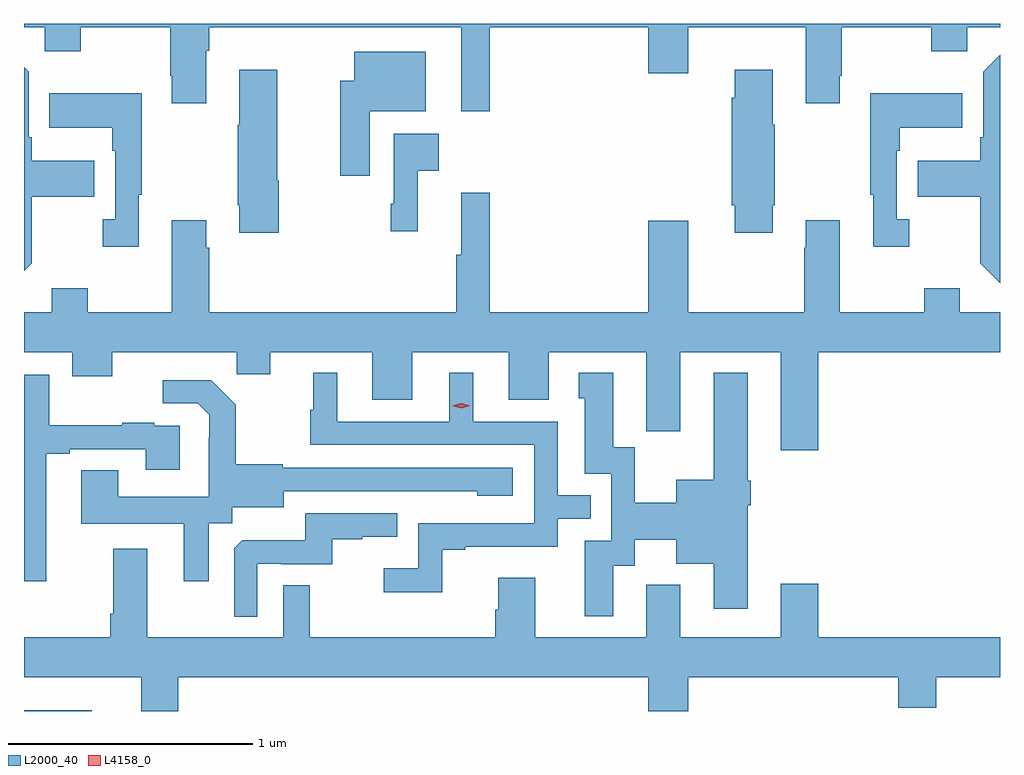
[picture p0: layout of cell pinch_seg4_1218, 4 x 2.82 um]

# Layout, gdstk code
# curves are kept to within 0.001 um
import gdstk
lib = gdstk.Library(unit=1e-6, precision=1e-09)
def R(c, l, rs):  # rectangles x0, y0, x1, y1
    for r in rs: c.add(gdstk.rectangle(r[:2], r[2:], *l))
def P(c, l, *ps):  # polygons
    for p in ps: c.add(gdstk.Polygon(p, *l))
L2000_40 = (2000, 40)
L4158_0 = (4158, 0)

pinch_seg4_1218 = lib.new_cell('pinch_seg4_1218')
R(pinch_seg4_1218, L2000_40, [(186.425,829.98,186.703,829.984)])
P(pinch_seg4_1218, L2000_40, [(188.333,832.784),(188.984,832.784),(188.984,832.596),(189.148,832.596),(189.148,832.784),(189.629,832.784),(189.629,832.473),(189.769,832.473),(189.769,832.585),(189.777,832.585),(189.777,832.784),(190.144,832.784),(190.144,832.685),(190.29,832.685),(190.29,832.784),(190.425,832.784),(190.425,832.799),(186.425,832.799),(186.425,832.784),(186.51,832.784),(186.51,832.685),(186.657,832.685),(186.657,832.784),(187.024,832.784),(187.024,832.585),(187.031,832.585),(187.031,832.473),(187.171,832.473),(187.171,832.688),(187.184,832.688),(187.184,832.784),(188.216,832.784),(188.216,832.44),(188.333,832.44)],
  [(187.843,832.439),(188.071,832.439),(188.071,832.684),(187.778,832.684),(187.778,832.564),(187.721,832.564),(187.721,832.176),(187.843,832.176)],
  [(190.425,832.671),(190.356,832.602),(190.356,832.333),(190.344,832.333),(190.344,832.237),(190.087,832.237),(190.087,832.09),(190.344,832.09),(190.344,831.817),(190.425,831.735)],
  [(186.457,831.817),(186.457,832.09),(186.713,832.09),(186.713,832.237),(186.457,832.237),(186.457,832.333),(186.444,832.333),(186.444,832.602),(186.425,832.621),(186.425,831.785)],
  [(187.47,832.154),(187.462,832.154),(187.462,832.609),(187.307,832.609),(187.307,832.385),(187.3,832.385),(187.3,832.054),(187.307,832.054),(187.307,831.942),(187.47,831.942)],
  [(189.493,832.054),(189.501,832.054),(189.501,832.385),(189.493,832.385),(189.493,832.609),(189.338,832.609),(189.338,832.496),(189.326,832.496),(189.326,832.054),(189.338,832.054),(189.338,831.942),(189.493,831.942)],
  [(186.895,832.097),(186.907,832.097),(186.907,832.513),(186.529,832.513),(186.529,832.373),(186.786,832.373),(186.786,832.277),(186.798,832.277),(186.798,831.998),(186.747,831.998),(186.747,831.885),(186.895,831.885)],
  [(190.054,831.998),(190.002,831.998),(190.002,832.277),(190.015,832.277),(190.015,832.373),(190.271,832.373),(190.271,832.513),(189.894,832.513),(189.894,832.097),(189.905,832.097),(189.905,831.885),(190.054,831.885)],
  [(188.039,832.196),(188.125,832.196),(188.125,832.348),(187.941,832.348),(187.941,832.06),(187.929,832.06),(187.929,831.948),(188.039,831.948)],
  [(189.68,831.452),(190.425,831.452),(190.425,831.616),(190.261,831.616),(190.261,831.715),(190.114,831.715),(190.114,831.616),(189.769,831.616),(189.769,831.994),(189.629,831.994),(189.629,831.881),(189.622,831.881),(189.622,831.616),(189.148,831.616),(189.148,831.991),(188.984,831.991),(188.984,831.616),(188.333,831.616),(188.333,832.105),(188.216,832.105),(188.216,831.852),(188.197,831.852),(188.197,831.616),(187.184,831.616),(187.184,831.881),(187.171,831.881),(187.171,831.994),(187.031,831.994),(187.031,831.616),(186.687,831.616),(186.687,831.715),(186.539,831.715),(186.539,831.616),(186.425,831.616),(186.425,831.452),(186.623,831.452),(186.623,831.353),(186.787,831.353),(186.787,831.452),(187.297,831.452),(187.297,831.362),(187.435,831.362),(187.435,831.452),(187.853,831.452),(187.853,831.258),(188.017,831.258),(188.017,831.452),(188.411,831.452),(188.411,831.258),(188.575,831.258),(188.575,831.452),(188.975,831.452),(188.975,831.241),(188.976,831.241),(188.976,831.129),(189.115,831.129),(189.115,831.452),(189.527,831.452),(189.527,831.051),(189.68,831.051)],
  [(188.839,830.578),(188.929,830.578),(188.929,830.684),(189.098,830.684),(189.098,830.585),(189.251,830.585),(189.251,830.4),(189.391,830.4),(189.391,830.825),(189.404,830.825),(189.404,830.925),(189.391,830.925),(189.391,831.367),(189.251,831.367),(189.251,830.929),(189.098,830.929),(189.098,830.836),(188.928,830.836),(188.928,831.063),(188.839,831.063),(188.839,831.367),(188.699,831.367),(188.699,831.264),(188.723,831.264),(188.723,830.955),(188.832,830.955),(188.832,830.679),(188.723,830.679),(188.723,830.37),(188.839,830.37)],
  [(188.139,830.643),(188.233,830.643),(188.233,830.655),(188.613,830.655),(188.613,830.769),(188.747,830.769),(188.747,830.865),(188.613,830.865),(188.613,831.168),(188.266,831.168),(188.266,831.367),(188.168,831.367),(188.168,831.168),(187.708,831.168),(187.708,831.367),(187.61,831.367),(187.61,831.216),(187.599,831.216),(187.599,831.072),(188.517,831.072),(188.517,830.751),(188.04,830.751),(188.04,830.566),(187.899,830.566),(187.899,830.468),(188.139,830.468)],
  [(186.517,831.036),(186.613,831.036),(186.613,831.054),(186.923,831.054),(186.923,830.97),(187.063,830.97),(187.063,831.15),(186.959,831.15),(186.959,831.163),(186.827,831.163),(186.827,831.152),(186.529,831.152),(186.529,831.36),(186.425,831.36),(186.425,830.514),(186.517,830.514)],
  [(187.183,830.752),(187.278,830.752),(187.278,830.816),(187.489,830.816),(187.489,830.883),(188.283,830.882),(188.283,830.864),(188.428,830.864),(188.428,830.979),(187.485,830.979),(187.485,830.992),(187.293,830.992),(187.293,831.237),(187.193,831.337),(186.993,831.337),(186.993,831.243),(187.137,831.243),(187.184,831.196),(187.184,831.101),(187.182,831.101),(187.182,830.86),(186.811,830.86),(186.811,830.969),(186.659,830.969),(186.659,830.75),(187.079,830.75),(187.079,830.514),(187.183,830.514)],
  [(187.38,830.586),(187.48,830.586),(187.48,830.583),(187.688,830.583),(187.688,830.685),(187.811,830.685),(187.811,830.696),(187.955,830.696),(187.955,830.793),(187.578,830.793),(187.578,830.681),(187.319,830.681),(187.287,830.649),(187.287,830.369),(187.38,830.369)],
  [(188.984,829.98),(189.148,829.98),(189.148,830.12),(190.007,830.12),(190.007,829.996),(190.163,829.996),(190.163,830.12),(190.425,830.12),(190.425,830.284),(189.68,830.284),(189.68,830.503),(189.527,830.503),(189.527,830.284),(189.115,830.284),(189.115,830.5),(188.975,830.5),(188.975,830.284),(188.521,830.284),(188.521,830.527),(188.369,830.527),(188.369,830.397),(188.357,830.397),(188.357,830.284),(187.597,830.284),(187.597,830.498),(187.488,830.498),(187.488,830.284),(186.931,830.284),(186.931,830.647),(186.791,830.647),(186.791,830.38),(186.779,830.38),(186.779,830.284),(186.425,830.284),(186.425,830.12),(186.905,830.12),(186.905,829.98),(187.058,829.98),(187.058,830.12),(188.984,830.12)])
P(pinch_seg4_1218, L4158_0, [(188.217,831.222),(188.181,831.232),(188.181,831.232),(188.181,831.232),(188.217,831.242),(188.253,831.232),(188.253,831.232),(188.253,831.232)])

lib.write_gds('pinch_seg4_1218.gds')
